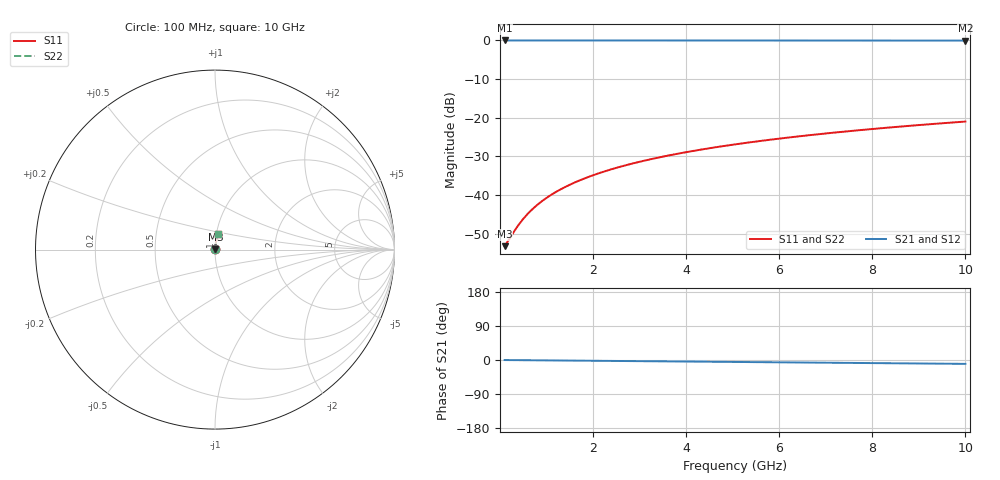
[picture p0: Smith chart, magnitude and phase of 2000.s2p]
# Hz S RI R 50.00
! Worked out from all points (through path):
!   100 points, 100 MHz to 10 GHz, reference 50 ohm
!   highest |S21| = -0.02 dB at 100 MHz (marker M1); lowest = -0.1 dB at 10 GHz (marker M2)
!   group delay of S21, straight-line fit = 2.83 ps
!   lowest |S11| = -53.3 dB at 100 MHz (marker M3), VSWR 1.00, Z = 50.2 + j0.0893 ohm
!   |S11| at or under -10 dB: start of sweep to end of sweep
!   |S22| runs from -53.3 to -21.0 dB; largest |S21 - S12| = 0
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1e8  0.00198 0.00089  0.998 -0.00177  0.998 -0.00177  0.00198 0.00089
2e8  0.002 0.00178  0.998 -0.00354  0.998 -0.00354  0.002 0.00178
3e8  0.00202 0.00267  0.998 -0.00532  0.998 -0.00532  0.00202 0.00267
4e8  0.00204 0.00356  0.998 -0.00709  0.998 -0.00709  0.00204 0.00356
5e8  0.00206 0.00445  0.9979 -0.00886  0.9979 -0.00886  0.00206 0.00445
6e8  0.00208 0.00534  0.9979 -0.0106  0.9979 -0.0106  0.00208 0.00534
7e8  0.00211 0.00623  0.9979 -0.0124  0.9979 -0.0124  0.00211 0.00623
8e8  0.00214 0.00712  0.9978 -0.0142  0.9978 -0.0142  0.00214 0.00712
1e9  0.0022 0.00889  0.9978 -0.0177  0.9978 -0.0177  0.0022 0.00889
1.2e9  0.00228 0.0107  0.9977 -0.0213  0.9977 -0.0213  0.00228 0.0107
1.5e9  0.00241 0.0133  0.9975 -0.0266  0.9975 -0.0266  0.00241 0.0133
1.8e9  0.00258 0.016  0.9973 -0.0319  0.9973 -0.0319  0.00258 0.016
2.1e9  0.00277 0.0187  0.997 -0.0372  0.997 -0.0372  0.00277 0.0187
2.5e9  0.00307 0.0222  0.9967 -0.0443  0.9967 -0.0443  0.00307 0.0222
2.9e9  0.00342 0.0258  0.9962 -0.0514  0.9962 -0.0514  0.00342 0.0258
3.4e9  0.00393 0.0302  0.9956 -0.0602  0.9956 -0.0602  0.00393 0.0302
4.2e9  0.0049 0.0372  0.9944 -0.0743  0.9944 -0.0743  0.0049 0.0372
5.1e9  0.00624 0.0451  0.9927 -0.0902  0.9927 -0.0902  0.00624 0.0451
5.9e9  0.00763 0.0521  0.991 -0.1043  0.991 -0.1043  0.00763 0.0521
6.7e9  0.00923 0.0591  0.9889 -0.1184  0.9889 -0.1184  0.00923 0.0591
8.4e9  0.0133 0.0737  0.9839 -0.1481  0.9839 -0.1481  0.0133 0.0737
1e10  0.0179 0.0873  0.9781 -0.176  0.9781 -0.176  0.0179 0.0873
